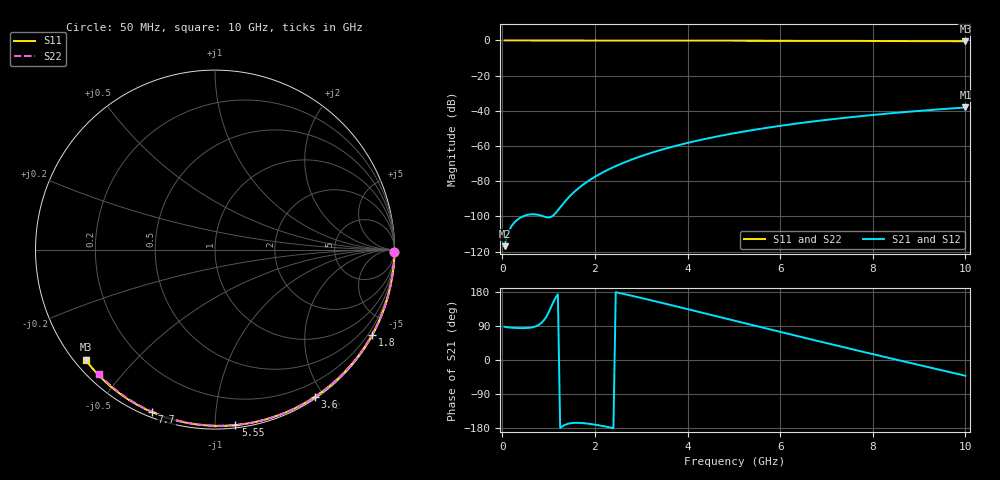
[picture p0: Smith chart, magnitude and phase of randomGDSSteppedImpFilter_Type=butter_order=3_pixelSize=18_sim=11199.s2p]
! freq	dB(S11)	phase(S11)	dB(S12)	phase(S12)
!  dB(S21)	phase(S21)	dB(S22)	phase(S22)
!S-par simulation data
#  GHz  S  DB  R 50
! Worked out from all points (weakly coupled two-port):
!   200 points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, 50 MHz to 10 GHz, reference 50 ohm
!   highest |S21| = -38.07 dB at 10 GHz (marker M1); lowest = -116.9 dB at 50 MHz (marker M2)
!   lowest |S11| = -0.5 dB at 10 GHz (marker M3), VSWR 36.78, Z = 1.54 - j18.4 ohm
!   |S11| at or under -10 dB: nowhere
!   |S22| runs from -0.4 to 0.0 dB; largest |S21 - S12| = 0
!   S11 on the Smith chart (normalised r, x): 50 MHz: open; 1.8 GHz: 0.03, -3.92; 3.6 GHz: 0.02, -1.89; 5.55 GHz: 0.02, -1.12; 7.7 GHz: 0.02, -0.68; 10 GHz: 0.03, -0.37
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0.05  -0.00 -0.8  -116.87 87.9  -116.87 87.9  -0.00 -0.8
0.45  -0.01 -7.3  -99.89 84.0  -99.89 84.0  -0.01 -6.9
0.9  -0.02 -14.4  -100.04 105.0  -100.04 105.0  -0.02 -13.8
1.75  -0.04 -27.8  -81.81 -166.6  -81.81 -166.6  -0.03 -26.5
1.8  -0.04 -28.6  -80.86 -167.2  -80.86 -167.2  -0.03 -27.3
1.85  -0.04 -29.4  -79.96 -167.9  -79.96 -167.9  -0.04 -28.0
2  -0.04 -31.7  -77.46 -170.5  -77.46 -170.5  -0.04 -30.2
2.15  -0.04 -34.0  -75.22 -173.7  -75.22 -173.7  -0.04 -32.4
2.35  -0.05 -37.1  -72.58 -178.5  -72.58 -178.5  -0.05 -35.4
2.55  -0.05 -40.2  -70.22 176.3  -70.22 176.3  -0.05 -38.3
2.95  -0.06 -46.2  -66.17 165.2  -66.17 165.2  -0.06 -44.1
3.4  -0.07 -52.9  -62.38 152.1  -62.38 152.1  -0.07 -50.5
3.6  -0.08 -55.9  -60.89 146.2  -60.89 146.2  -0.07 -53.3
4.3  -0.09 -66.0  -56.40 125.3  -56.40 125.3  -0.09 -63.0
5.05  -0.12 -76.5  -52.49 102.7  -52.49 102.7  -0.11 -73.0
5.55  -0.14 -83.4  -50.28 87.7  -50.28 87.7  -0.13 -79.5
6.1  -0.16 -90.7  -48.13 71.3  -48.13 71.3  -0.15 -86.6
6.7  -0.19 -98.6  -46.06 53.5  -46.06 53.5  -0.18 -94.1
7.7  -0.25 -111.3  -43.11 24.2  -43.11 24.2  -0.24 -106.2
8.35  -0.31 -119.4  -41.47 5.4  -41.47 5.4  -0.29 -113.9
9.2  -0.38 -129.8  -39.60 -18.9  -39.60 -18.9  -0.37 -123.7
10  -0.47 -139.6  -38.07 -41.5  -38.07 -41.5  -0.45 -132.9
